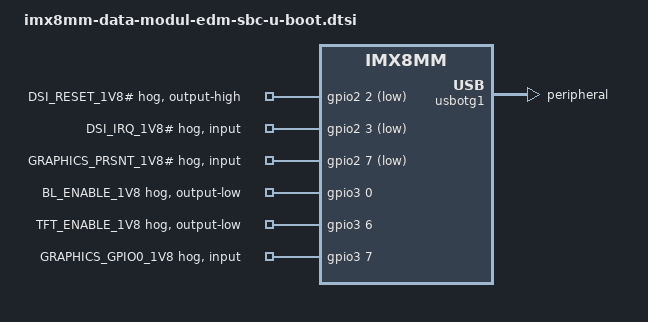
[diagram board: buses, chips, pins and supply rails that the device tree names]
// SPDX-License-Identifier: GPL-2.0+
/*
 * Copyright 2022 Marek Vasut <marex@denx.de>
 */

#include "imx8mm-u-boot.dtsi"

/ {
	aliases {
		eeprom0 = &eeprom;
		mmc0 = &usdhc3;	/* eMMC */
		mmc1 = &usdhc2;	/* MicroSD */
	};

	config {
		dmo,ram-coding-gpios = <&gpio2 8 0>, <&gpio2 1 0>, <&gpio2 0 0>;
	};

	wdt-reboot {
		compatible = "wdt-reboot";
		wdt = <&wdog1>;
		bootph-pre-ram;
	};
};

&buck4_reg {
	bootph-pre-ram;
};

&buck5_reg {
	bootph-pre-ram;
};

&i2c1 {
	bootph-pre-ram;
};

&pinctrl_hog_sbc {
	bootph-pre-ram;
};

&pinctrl_i2c1 {
	bootph-pre-ram;
};

&pinctrl_i2c1_gpio {
	bootph-pre-ram;
};

&pinctrl_pmic {
	bootph-pre-ram;
};

&pinctrl_uart3 {
	bootph-pre-ram;
};

&pinctrl_usdhc2 {
	bootph-pre-ram;
};

&pinctrl_usdhc3 {
	bootph-pre-ram;
};

&pmic {
	bootph-pre-ram;

	regulators {
		bootph-pre-ram;
	};
};

&gpio1 {
	bootph-pre-ram;
};

&gpio2 {
	bootph-pre-ram;

	dsi-reset-hog {
		bootph-pre-ram;
		gpio-hog;
		output-high;
		gpios = <2 GPIO_ACTIVE_LOW>;
		line-name = "DSI_RESET_1V8#";
	};


	dsi-irq-hog {
		bootph-pre-ram;
		gpio-hog;
		input;
		gpios = <3 GPIO_ACTIVE_LOW>;
		line-name = "DSI_IRQ_1V8#";
	};

	graphics-prsnt-hog {
		bootph-pre-ram;
		gpio-hog;
		input;
		gpios = <7 GPIO_ACTIVE_LOW>;
		line-name = "GRAPHICS_PRSNT_1V8#";
	};
};

&gpio3 {
	bootph-pre-ram;

	bl-enable-hog {
		bootph-pre-ram;
		gpio-hog;
		output-low;
		gpios = <0 GPIO_ACTIVE_HIGH>;
		line-name = "BL_ENABLE_1V8";
	};

	tft-enable-hog {
		bootph-pre-ram;
		gpio-hog;
		output-low;
		gpios = <6 GPIO_ACTIVE_HIGH>;
		line-name = "TFT_ENABLE_1V8";
	};

	graphics-gpio0-hog {
		bootph-pre-ram;
		gpio-hog;
		input;
		gpios = <7 GPIO_ACTIVE_HIGH>;
		line-name = "GRAPHICS_GPIO0_1V8";
	};
};

&gpio4 {
	bootph-pre-ram;
};

&gpio5 {
	bootph-pre-ram;
};

&uart3 {
	bootph-pre-ram;
};

&usbotg1 {
	dr_mode = "peripheral";
};

&usdhc2 {
	bootph-pre-ram;
	sd-uhs-sdr104;
	sd-uhs-ddr50;
};

&usdhc3 {
	bootph-pre-ram;
	mmc-hs400-1_8v;
	mmc-hs400-enhanced-strobe;
};

&wdog1 {
	bootph-pre-ram;
};
